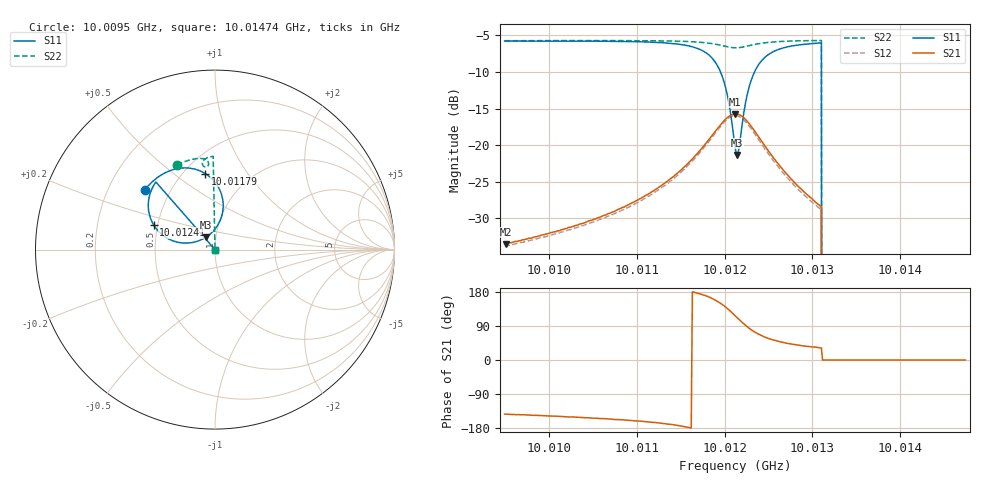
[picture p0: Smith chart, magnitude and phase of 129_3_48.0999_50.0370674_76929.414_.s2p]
#  HZ  S  RI  R  50.00
! Rohde & Schwarz Vector Network Analyzer
! Rohde-Schwarz,ZNB20-2Port,1311601062101988,3.16
! Created: UTC 12/23/2023, 3:47:34 AM
! freq[Hz]  re:S11  im:S11  re:S21  im:S21  re:S12  im:S12  re:S22  im:S22
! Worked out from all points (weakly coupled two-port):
!   401 points, 10.0095 GHz to 10.01474 GHz, reference 50 ohm
!   highest |S21| = -15.74 dB at 10.01212 GHz (marker M1); lowest = -33.5 dB at 10.00951 GHz (marker M2)
!   lowest |S11| = -21.4 dB at 10.01215 GHz (marker M3), VSWR 1.19, Z = 44.8 + j6.22 ohm
!   |S11| at or under -10 dB: 10.01195 GHz to 10.01234 GHz (386.6 kHz wide, 0.00386 % of centre); 10.0131 GHz to end of sweep
!   |S22| runs from - to -5.7 dB; largest |S21 - S12| = 0.008
!   S11 on the Smith chart (normalised r, x): 10.0095 GHz: 0.36, +0.33; 10.01179 GHz: 0.63, +0.66; 10.01241 GHz: 0.47, +0.15; 10.01474 GHz: 1.00, +0.00
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1.0009497e10  -0.3913 0.3346  -0.0168 -0.0127  -0.0155 -0.0131  -0.2118 0.4726
1.0009511e10  -0.3906 0.3354  -0.0167 -0.0127  -0.0156 -0.0131  -0.211 0.473
1.0010376e10  -0.3362 0.3896  -0.0256 -0.0136  -0.0239 -0.0144  -0.1572 0.4944
1.0011254e10  -0.2346 0.4454  -0.05 -0.0123  -0.0475 -0.0144  -0.0954 0.5079
1.0011556e10  -0.1591 0.455  -0.0718 -0.00453  -0.069 -0.00846  -0.0697 0.5073
1.0011792e10  -0.0545 0.4237  -0.1014 0.0194  -0.0993 0.0137  -0.0471 0.4987
1.001191e10  0.0127 0.3578  -0.1163 0.0517  -0.1157 0.044  -0.0374 0.4872
1.0011988e10  0.0436 0.2748  -0.1178 0.085  -0.1184 0.0776  -0.0355 0.4758
1.0012054e10  0.0368 0.184  -0.1045 0.118  -0.1071 0.1105  -0.0397 0.4662
1.0012119e10  -0.0167 0.096  -0.0745 0.1452  -0.078 0.1386  -0.049 0.4605
1.0012145e10  -0.0505 0.0689  -0.059 0.1519  -0.0628 0.1453  -0.0535 0.4602
1.0012172e10  -0.0889 0.0498  -0.043 0.155  -0.0471 0.1489  -0.058 0.4611
1.0012224e10  -0.1687 0.0362  -0.012 0.1522  -0.0159 0.1469  -0.0654 0.4661
1.0012277e10  -0.2397 0.0509  0.0139 0.1404  0.00886 0.1355  -0.0695 0.4735
1.0012329e10  -0.2934 0.0824  0.0316 0.124  0.0256 0.1201  -0.0703 0.4813
1.0012408e10  -0.342 0.1382  0.0446 0.0998  0.0395 0.0968  -0.0672 0.4918
1.0012617e10  -0.3716 0.2574  0.0482 0.0556  0.0438 0.0546  -0.0504 0.5084
1.0012998e10  -0.3399 0.3605  0.0352 0.0243  0.0322 0.0245  -0.0184 0.5187
1.0013076e10  -0.332 0.3728  0.0328 0.0209  0.0301 0.0215  -0.0123 0.5195
1.0013142e10  0 0  0 0  0 0  0 0
1.0013876e10  0 0  0 0  0 0  0 0
1.0014741e10  0 0  0 0  0 0  0 0
